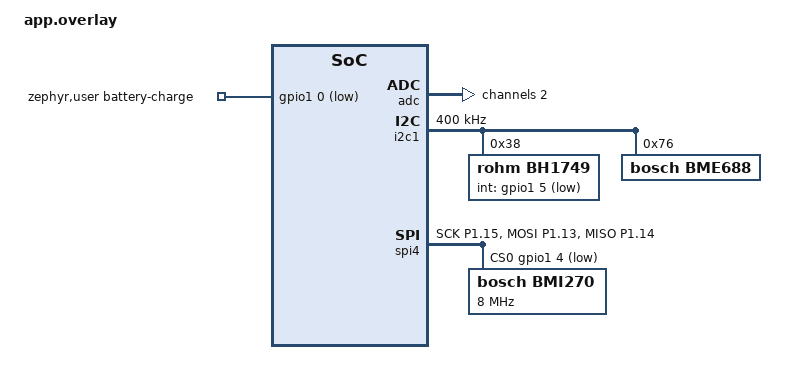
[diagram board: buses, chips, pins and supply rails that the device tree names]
/* SPDX-License-Identifier: LicenseRef-Nordic-5-Clause */

#include <dt-bindings/gpio/gpio.h>
#include <dt-bindings/spi/spi.h>
#include <dt-bindings/pinctrl/nrf-pinctrl.h>

/ {
    zephyr,user {
        battery-charge-gpios = <&gpio1 0 (GPIO_PULL_UP | GPIO_ACTIVE_LOW)>;
    };
};

/* ADC configuration (unchanged) */
&adc {
    #address-cells = <1>;
    #size-cells = <0>;
    channel@2 {
        reg = <2>;
        zephyr,gain = "ADC_GAIN_1";
        zephyr,reference = "ADC_REF_INTERNAL";
        zephyr,acquisition-time = <ADC_ACQ_TIME(ADC_ACQ_TIME_MICROSECONDS, 40)>;
        zephyr,input-positive = <NRF_SAADC_AIN2>;
        zephyr,resolution = <12>;
        zephyr,oversampling = <4>;
    };
};

/* I2C: retain BH1749 and BME688, remove BMM150 */
&i2c1 {
    compatible = "nordic,nrf-twim";
    status = "okay";
    clock-frequency = <I2C_BITRATE_FAST>;

    bh1749@38 {
        compatible = "rohm,bh1749";
        reg = <0x38>;
        int-gpios = <&gpio1 5 (GPIO_PULL_UP | GPIO_ACTIVE_LOW)>;
    };
    
    bme688@76 {
        compatible = "bosch,bme688";
        reg = <0x76>;
    };
};

/* Pinctrl for SPI4: define pins SCK, MOSI, MISO on port 1 */
&pinctrl {
    spi4_default: spi4_default {
        group1 {
            psels = <NRF_PSEL(SPIM_SCK, 1, 15),
                     NRF_PSEL(SPIM_MOSI, 1, 13),
                     NRF_PSEL(SPIM_MISO, 1, 14)>;
        };
    };
    
    spi4_sleep: spi4_sleep {
        group1 {
            psels = <NRF_PSEL(SPIM_SCK, 1, 15),
                     NRF_PSEL(SPIM_MOSI, 1, 13),
                     NRF_PSEL(SPIM_MISO, 1, 14)>;
            low-power-enable;
        };
    };
};

/* Activate SPI4 and assign pinctrl + chip select */
/* Add spi_fwd label to fix the undefined reference error */
&spi4 {
    spi_fwd: spi_fwd {
        /* This is a temporary workaround - define what spi_fwd should be */
        status = "disabled";
    };
    
    status = "okay";
    pinctrl-0 = <&spi4_default>;
    pinctrl-1 = <&spi4_sleep>;
    pinctrl-names = "default", "sleep";
    cs-gpios = <&gpio1 4 GPIO_ACTIVE_LOW>;
    
    /* Add BMI270 IMU as child node of SPI4 */
    bmi270@0 {
        compatible = "bosch,bmi270";
        status = "okay";
        reg = <0>;
        spi-max-frequency = <8000000>;
        /* Add interrupt pin if needed */
        /* int-gpios = <&gpio1 6 (GPIO_PULL_UP | GPIO_ACTIVE_LOW)>; */
    };
};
